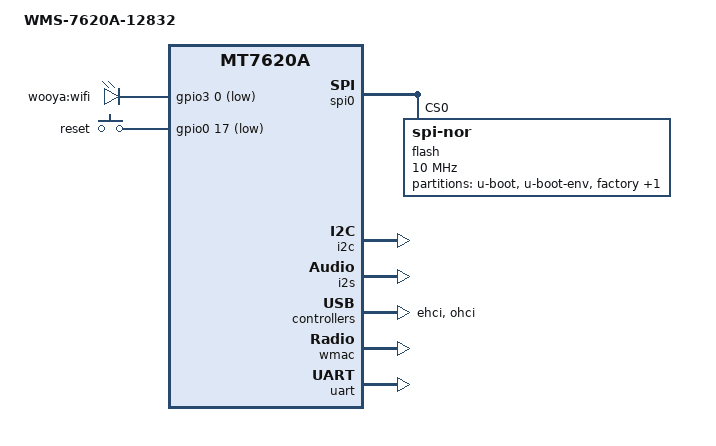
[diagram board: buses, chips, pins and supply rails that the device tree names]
#include "mt7620a.dtsi"

#include <dt-bindings/gpio/gpio.h>
#include <dt-bindings/input/input.h>

/ {
	compatible = "wooya,wms-7620a", "ralink,mt7620a-soc";
	model = "WMS-7620A-12832";
	
	aliases {
		led-boot = &led_wlan;
		led-failsafe = &led_wlan;
		led-running = &led_wlan;
		led-upgrade = &led_wlan;
	};

	chosen {
		bootargs = "console=ttyS1,57600";
	};

	leds {
		compatible = "gpio-leds";
		led_wlan:wooya_wifi {
			label = "wooya:wifi";
			gpios = <&gpio3 0 GPIO_ACTIVE_LOW>;
		};
	};

	keys {
		compatible = "gpio-keys";
		reset {
			label = "reset";
			gpios = <&gpio0 17 GPIO_ACTIVE_LOW>;
			linux,code = <KEY_RESTART>;
		};
	};
};

&spi0 {
	status = "okay";

	flash@0 {
		compatible = "jedec,spi-nor";
		reg = <0>;
		spi-max-frequency = <10000000>;

		partitions {
			compatible = "fixed-partitions";
			#address-cells = <1>;
			#size-cells = <1>;

			partition@0 {
				label = "u-boot";
				reg = <0x0 0x30000>;
				read-only;
			};

			partition@30000 {
				label = "u-boot-env";
				reg = <0x30000 0x10000>;
				read-only;
			};

			factory: partition@40000 {
				label = "factory";
				reg = <0x40000 0x10000>;
				read-only;
			};

			partition@50000 {
				compatible = "denx,uimage";
				label = "firmware";
				reg = <0x50000 0x1fb0000>;
			};
		};
	};
};

&gpio1 {
	status = "okay";
};

&gpio2 {
	status = "okay";
};

&gpio3 {
	status = "okay";
};

&i2c {
	status = "okay";
};

&i2s {
	status = "okay";
	pinctrl-names = "default";
	pinctrl-0 = <&pcm_i2s_pins>;
};

&ehci {
	status = "okay";
};

&ohci {
	status = "okay";
};

&ethernet {
	mtd-mac-address = <&factory 0x4>;
};

&gsw {
ralink,port4 = "ephy";
};

&wmac {
	ralink,mtd-eeprom = <&factory 0x0>;
};

&uart {
        status = "okay";
};

&state_default {
	gpio {
		groups =  "wled", "pcie", "pa","wdt";
		function = "gpio";
	};
	uartf_gpio {
                groups = "uartf";
                function = "gpio uartf";
        };

};
